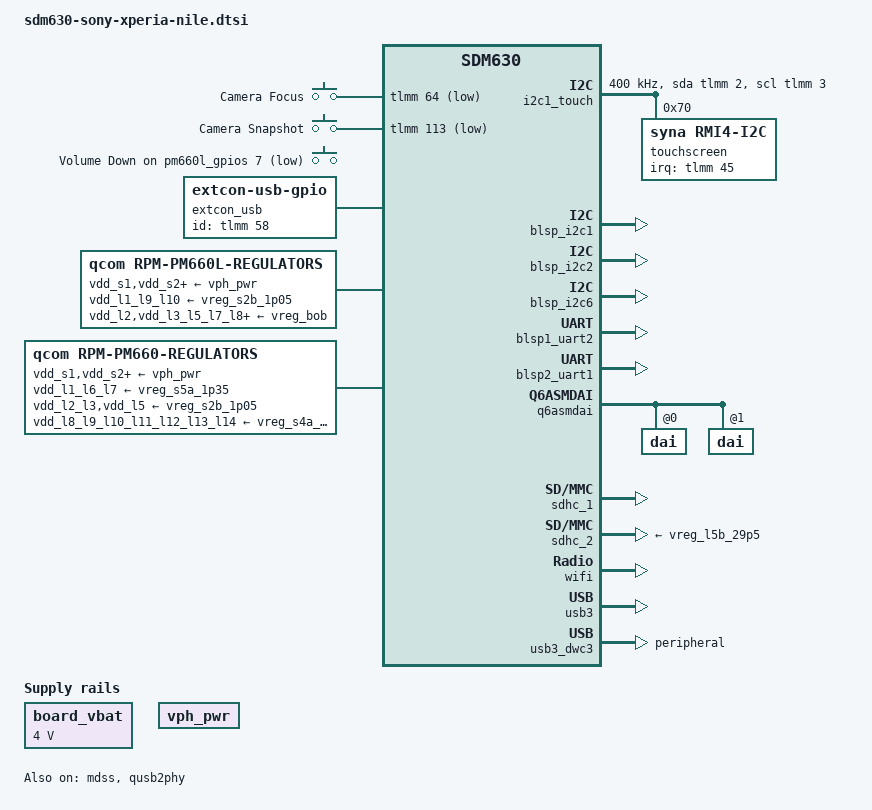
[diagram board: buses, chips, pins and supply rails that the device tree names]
// SPDX-License-Identifier: BSD-3-Clause
/*
 * Copyright (c) 2020, Konrad Dybcio
 */

/dts-v1/;

#include "sdm630.dtsi"
#include "pm660.dtsi"
#include "pm660l.dtsi"
#include <dt-bindings/gpio/gpio.h>
#include <dt-bindings/input/input.h>
#include <dt-bindings/input/gpio-keys.h>

#define EARLY_FRAMEBUFFER

/ {
	/* required for bootloader to select correct board */
	qcom,msm-id = <318 0>;
	qcom,board-id = <8 1>;
	qcom,pmic-id = <0x1001b 0x101011a 0x00 0x00 0x1001b 0x201011a 0x00 0x00>;

	/* This part enables graphical output via bootloader-enabled display */
	chosen {
#ifdef EARLY_FRAMEBUFFER
		bootargs = "earlycon=tty0 console=tty0 clk_ignore_unused";
#else
		bootargs = "clk_ignore_unused";
#endif
		#address-cells = <2>;
		#size-cells = <2>;
		ranges;

#ifdef EARLY_FRAMEBUFFER
		stdout-path = "framebuffer0";


		framebuffer0: framebuffer@9d400000 {
			compatible = "simple-framebuffer";
			reg = <0 0x9d400000 0 (1920 * 1080 * 4)>;
			width = <1080>;
			height = <1920>;
			stride = <(1080 * 4)>;
			format = "a8r8g8b8";

			power-domains = <&mmcc MDSS_GDSC>;
			clocks = <&mmcc MDSS_AHB_CLK>,
				 <&mmcc MNOC_AHB_CLK>,
				 <&mmcc MDSS_VSYNC_CLK>,
				 <&mmcc MDSS_AXI_CLK>,
				 <&mmcc MDSS_BYTE0_INTF_CLK>,
				 <&mmcc MDSS_MDP_CLK>,
				 <&mmcc MDSS_BYTE0_CLK>,
				 <&mmcc MDSS_PCLK0_CLK>,
				 <&mmcc MDSS_ESC0_CLK>,
				 <&xo_board>;
		};
#endif
	};

	board_vbat: vbat-regulator {
		compatible = "regulator-fixed";
		regulator-name = "VBAT";

		regulator-min-microvolt = <4000000>;
		regulator-max-microvolt = <4000000>;
		regulator-always-on;
		regulator-boot-on;
	};

	vph_pwr: vph-pwr-regulator {
		compatible = "regulator-fixed";
		regulator-name = "vph_pwr";

	//	vin-supply = <&board_vbat>;
		regulator-always-on;
		regulator-boot-on;
	};

	gpio_keys: gpio_keys {
		status = "okay";
		compatible = "gpio-keys";
		input-name = "gpio-keys";
		#address-cells = <1>;
		#size-cells = <0>;

		camera_focus {
			label = "Camera Focus";
			gpios = <&tlmm 64 GPIO_ACTIVE_LOW>;
			linux,input-type = <1>;
			linux,code = <KEY_CAMERA_FOCUS>;
			debounce-interval = <15>;
		};

		camera_snapshot {
			label = "Camera Snapshot";
			gpios = <&tlmm 113 GPIO_ACTIVE_LOW>;
			linux,input-type = <1>;
			linux,code = <KEY_CAMERA>;
			debounce-interval = <15>;
		};

		vol_down {
			label = "Volume Down";
			gpios = <&pm660l_gpios 7 GPIO_ACTIVE_LOW>;
			linux,input-type = <1>;
			linux,code = <KEY_VOLUMEDOWN>;
			gpio-key,wakeup;
			debounce-interval = <15>;
		};
	};

	reserved-memory {
		#address-cells = <2>;
		#size-cells = <2>;
		ranges;

		ramoops@ffc00000 {
			compatible = "ramoops";
			reg = <0x0 0xffc00000 0x0 0x100000>;
			record-size = <0x10000>;
			console-size = <0x60000>;
			ftrace-size = <0x10000>;
			pmsg-size = <0x20000>;
			ecc-size = <16>;
			status = "okay";
		};

		debug_region@ffb00000 {
			reg = <0x00 0xffb00000 0x00 0x100000>;
			no-map;
		};

		removed_region@85800000 {
			reg = <0x00 0x85800000 0x00 0x3700000>;
			no-map;
		};
	};

	/* This is not exactly pretty, but required for TS to work.. */

	i2c1_touch: i2c {
		compatible = "i2c-gpio";
		status = "okay";

		sda-gpios = <&tlmm 2 (GPIO_ACTIVE_HIGH|GPIO_OPEN_DRAIN)>;
		scl-gpios = <&tlmm 3 (GPIO_ACTIVE_HIGH|GPIO_OPEN_DRAIN)>;

		#address-cells = <1>;
		#size-cells = <0>;
		clock-frequency = <400000>;

		pinctrl-names = "default";
		pinctrl-0 = <&i2c1_default>;

		touchscreen: synaptics-rmi4-i2c@70 {
			compatible = "syna,rmi4-i2c";
			reg = <0x70>;
			#address-cells = <1>;
			#size-cells = <0>;
			interrupts-extended = <&tlmm 45 0x2008>;

			pinctrl-names = "default";
			pinctrl-0 = <&ts_int_active &ts_lcd_id_active>;

			syna,reset-delay-ms = <200>;
			syna,startup-delay-ms = <220>;

			rmi4-f01@1 {
				reg = <0x01>;
				syna,nosleep-mode = <1>;
			};

			rmi4-f11@11 {
				reg = <0x11>;
				syna,sensor-type = <1>;
			};
		};
	};

	/* 
	 * Until we hook up type-c detection, we
	 * have to stick with this. But it works.
	 */
	extcon_usb: extcon-usb {
		compatible = "linux,extcon-usb-gpio";
		id-gpio = <&tlmm 58 GPIO_ACTIVE_HIGH>;
	};
};

&adsp_pil {
	firmware-name = "adsp.mdt";
	status = "disabled";
};

&blsp_i2c1 {
	status = "okay";

	/* Synaptics touchscreen - see above */
};

&blsp_i2c2 {
	status = "okay";

	/* SMB1351 charger */
};

/* I2C3, 4, 5, 7 and 8 are disabled on this board. */

&blsp_i2c6 {
	status = "okay";

	/* NXP NFC */
};

&blsp1_uart2 {
	status = "okay";
};

&blsp2_uart1 {
	status = "okay";
};

&dsi0 {
	#address-cells = <1>;
	#size-cells = <0>;

	power-domains = <&mmcc MDSS_GDSC>;
	vdd-supply = <&vreg_l1b_0p925>;
	vdda-supply = <&vreg_l1a_1p225>;

	panel: panel@0 {
		reg = <0>;

		reset-gpios = <&tlmm 53 GPIO_ACTIVE_HIGH>;
		disp-te-gpios = <&tlmm 59 GPIO_ACTIVE_HIGH>;

		pinctrl-names = "default";
		pinctrl-0 = <&panel_reset_gpio &panel_te_gpio>;
		port {
			panel_in: endpoint {
				remote-endpoint = <&dsi0_out>;
			};
		};
	};
};

&dsi0_out {
	remote-endpoint = <&panel_in>;
	data-lanes = <0 1 2 3>;
};

&mdss {
	status = "okay";
};

&pon {
	volup {
		compatible = "qcom,pm8941-resin";
		interrupts = <0x0 0x8 1 IRQ_TYPE_EDGE_BOTH>;
		debounce = <15625>;
		bias-pull-up;
		linux,code = <KEY_VOLUMEUP>;
	};
};

&q6asmdai {
	dai@0 {
		reg = <0>;
	};

	dai@1 {
		reg = <1>;
	};
};

&qusb2phy {
	status = "okay";

	vdd-supply = <&vreg_l1b_0p925>;
//	vdda-pll-supply = <&vreg_l10a_1p8>;
	vdda-phy-dpdm-supply = <&vreg_l7b_3p125>;
};

&remoteproc_mss {
	firmware-name = "mba.mbn", "modem.mdt";
};

&sdhc_1 {
	status = "okay";

	mmc-ddr-1_8v;
	/* SoMC Nile platform's eMMC doesn't support HS200 mode */
	mmc-hs400-1_8v;

	/*
	 * The SDHCI driver REALLY doesn't like
	 * the fact that the vmmc regulator isn't 1.8V
	 * flat.. but the eMMC works without regulators
	 * specified.
	 */
	//vmmc-supply = <&vreg_l4b_29p5>;
	//vqmmc-supply = <&vreg_l8a_1p8>;

};

&sdhc_2 {
	status = "okay";

	vmmc-supply = <&vreg_l5b_29p5>;
	vqmmc-supply = <&vreg_l2b_2p95>; 
};

&wifi {
	status = "okay";
	vdd-0.8-cx-mx-supply = <&vreg_l5a_0p848>;
	//vdd-1.8-xo-supply = <&vreg_l9a_1p8>;
	vdd-1.3-rfa-supply = <&vreg_l6a_1p3>;
	vdd-3.3-ch0-supply = <&vreg_l19a_3p3>;
};

/*
    s3                            0    0      0  normal   908mV     0mA     0mV     0mV
    s4                            0    0      0  normal   908mV     0mA     0mV     0mV
    s5                            0    0      0  normal   920mV     0mA     0mV     0mV
*/

&pm660l_spmi_regulators {
/*
	vdd_cx: s3 {
		regulator-min-microvolt = <870000>;
		regulator-max-microvolt = <955000>;
		//regulator-boot-on;
	};

	vdd_mx: s5 {
		regulator-min-microvolt = <915000>;
		regulator-max-microvolt = <955000>;
	///	regulator-boot-on;
	};
*/
};

&rpm_requests {
	pm660l-regulators {
		compatible = "qcom,rpm-pm660l-regulators";

		vdd_s1-supply = <&vph_pwr>;
		vdd_s2-supply = <&vph_pwr>;
		vdd_s3_s4-supply = <&vph_pwr>;
		vdd_s5-supply = <&vph_pwr>;
		vdd_s6-supply = <&vph_pwr>;

		vdd_l1_l9_l10-supply = <&vreg_s2b_1p05>;
		vdd_l2-supply = <&vreg_bob>;
		vdd_l3_l5_l7_l8-supply = <&vreg_bob>;
		vdd_l4_l6-supply = <&vreg_bob>;
		vdd_bob-supply = <&vph_pwr>;

		vreg_s1b_1p125: s1b {
			regulator-min-microvolt = <1125000>;
			regulator-max-microvolt = <1125000>;
			regulator-enable-ramp-delay = <200>;
			regulator-ramp-delay = <0>;
		};

		vreg_s2b_1p05: s2b {
			regulator-min-microvolt = <1050000>;
			regulator-max-microvolt = <1050000>;
			regulator-enable-ramp-delay = <200>;
			regulator-ramp-delay = <0>;
		};

#if 0
		vreg_s3b_s4b_0p87: s3b { /* VDD_CX */
			//regulator-min-microvolt = <355000>;
			/* HACK: Set it to at least 0.870V until we can scale it */

			regulator-min-microvolt = <870000>;
			regulator-max-microvolt = <955000>;
//			regulator-boot-on;

//			status = "disabled";
		};

		/* s4b is inaccessible / doesn't exist */

		vreg_s5b_0p915: s5b { /* VDD_MX */
			//regulator-min-microvolt = <525000>;
			/* HACK: Set it to at least 0.915V until we can scale it */

			regulator-min-microvolt = <915000>;
			regulator-max-microvolt = <955000>;
//			regulator-boot-on;

//			status = "disabled";
		};
#endif

		/* LDOs */
		vreg_l1b_0p925: l1b {
			regulator-min-microvolt = <880000>;
			regulator-max-microvolt = <928000>;
			regulator-enable-ramp-delay = <250>;
			regulator-ramp-delay = <0>;
			regulator-allow-set-load;
		};

		vreg_l2b_2p95: l2b {
			/* This regulator supports 1.648 - 3.104V on this board
			 * but we set a max voltage of anything less than 2.7V
			 * to satisfy a condition in sdhci.c that will disable
			 * 3.3V SDHCI signaling, which happens to be not really
			 * supported on the Xperia Nile/Ganges platform.
			 */
			regulator-min-microvolt = <1648000>;
			regulator-max-microvolt = <2696000>;
			/* regulator-max-microvolt = <3104000>; */
			regulator-enable-ramp-delay = <250>;
			regulator-ramp-delay = <0>;
			regulator-allow-set-load;
		};

		vreg_l3b_3p0: l3b {
			regulator-min-microvolt = <1710000>;
			regulator-max-microvolt = <3544000>;
			regulator-enable-ramp-delay = <250>;
			regulator-ramp-delay = <0>;
		};

		vreg_l4b_29p5: l4b {
		//	regulator-min-microvolt = <1700000>;

			regulator-min-microvolt = <2944000>;
			regulator-max-microvolt = <2952000>;
			regulator-enable-ramp-delay = <250>;
			regulator-ramp-delay = <0>;

			regulator-min-microamp = <200>;
			regulator-max-microamp = <600000>;
			regulator-system-load = <570000>;
			regulator-allow-set-load;
			//regulator-boot-on;
			//regulator-always-on;
		};

		vreg_l5b_29p5: l5b {
			regulator-min-microvolt = <1720000>;
			regulator-max-microvolt = <3600000>;
			regulator-enable-ramp-delay = <250>;
			regulator-ramp-delay = <0>;
			regulator-allow-set-load;
		};

		vreg_l6b_3p3: l6b {
			regulator-min-microvolt = <1704000>;
			regulator-max-microvolt = <3312000>;
			regulator-enable-ramp-delay = <250>;
			regulator-ramp-delay = <0>;
		};

		vreg_l7b_3p125: l7b {
			regulator-min-microvolt = <2704000>;
			regulator-max-microvolt = <3128000>;
			regulator-enable-ramp-delay = <250>;
			regulator-ramp-delay = <0>;
		};

		vreg_l8b_3p3: l8b {
			regulator-min-microvolt = <2800000>;
			regulator-max-microvolt = <3400000>;
			regulator-enable-ramp-delay = <250>;
			regulator-ramp-delay = <0>;
		};

		vreg_l9b_0p87: l9b {
			/* Unused */
			status = "disabled";
		};

		vreg_l10b_0p915: l10b {
			/* Unused */
			status = "disabled";
		};

		vreg_bob: bob {
			regulator-min-microvolt = <3300000>;
			regulator-max-microvolt = <3600000>;
			regulator-enable-ramp-delay = <500>;
			regulator-ramp-delay = <0>;
		};
	};

	pm660-regulators {
		compatible = "qcom,rpm-pm660-regulators";

		vdd_s1-supply = <&vph_pwr>;
		vdd_s2-supply = <&vph_pwr>;
		vdd_s3-supply = <&vph_pwr>;
		vdd_s4-supply = <&vph_pwr>;
		vdd_s5-supply = <&vph_pwr>;
		vdd_s6-supply = <&vph_pwr>;

		vdd_l1_l6_l7-supply = <&vreg_s5a_1p35>;
		vdd_l2_l3-supply = <&vreg_s2b_1p05>;
		vdd_l5-supply = <&vreg_s2b_1p05>;
		vdd_l8_l9_l10_l11_l12_l13_l14-supply = <&vreg_s4a_2p04>;
		vdd_l15_l16_l17_l18_l19-supply = <&vreg_bob>;

		vreg_s1a_ftapc0: s1a {
			/* Unused */
			status = "disabled";
		};

		vreg_s2a_ftapc1: s2a {
			/* Unused */
			status = "disabled";
		};

		vreg_s3a_hfapc1: s3a {
			/* Unused */
			status = "disabled";
		};

		vreg_s4a_2p04: s4a {
			//regulator-min-microvolt = <1808000>;
			regulator-min-microvolt = <2040000>;
			regulator-max-microvolt = <2040000>;
			regulator-enable-ramp-delay = <200>;
			regulator-ramp-delay = <0>;
			//regulator-allow-set-load;
			regulator-always-on;
		};

		vreg_s5a_1p35: s5a {
			regulator-min-microvolt = <1224000>;
			regulator-max-microvolt = <1350000>;
			regulator-enable-ramp-delay = <200>;
			regulator-ramp-delay = <0>;
		};

		vreg_s6a_0p87: s6a {
			regulator-min-microvolt = <504000>;
			regulator-max-microvolt = <992000>;
			regulator-enable-ramp-delay = <150>;
			regulator-ramp-delay = <0>;
		};

		/* LDOs */
		vreg_l1a_1p225: l1a {
			//regulator-min-microvolt = <1152000>;
			regulator-min-microvolt = <1200000>;
			regulator-max-microvolt = <1250000>;
			regulator-enable-ramp-delay = <250>;
			regulator-ramp-delay = <0>;
			regulator-allow-set-load;
		};

		vreg_l2a_1p0: l2a {
			regulator-min-microvolt = <944000>;
			regulator-max-microvolt = <1008000>;
			regulator-enable-ramp-delay = <250>;
			regulator-ramp-delay = <0>;
		};

		vreg_l3a_1p0: l3a {
			regulator-min-microvolt = <944000>;
			regulator-max-microvolt = <1008000>;
			regulator-enable-ramp-delay = <250>;
			regulator-ramp-delay = <0>;
		};

		vreg_l5a_0p848: l5a {
			regulator-min-microvolt = <528000>;
			regulator-max-microvolt = <952000>;
			regulator-enable-ramp-delay = <250>;
			regulator-ramp-delay = <0>;
		};

		vreg_l6a_1p3: l6a {
			regulator-min-microvolt = <1200000>;
			regulator-max-microvolt = <1368000>;
			regulator-allow-set-load;
			regulator-enable-ramp-delay = <250>;
			regulator-ramp-delay = <0>;
		};

		vreg_l7a_1p2: l7a {
			regulator-min-microvolt = <1200000>;
			regulator-max-microvolt = <1200000>;
			regulator-enable-ramp-delay = <250>;
			regulator-ramp-delay = <0>;
		};

		vreg_l8a_1p8: l8a {
			//regulator-min-microvolt = <1696000>;
			//regulator-min-microvolt = <1792000>;
			//regulator-max-microvolt = <1808000>;
			//regulator-max-microvolt = <1952000>;

			regulator-min-microvolt = <1800000>;
			regulator-max-microvolt = <1800000>;
			regulator-enable-ramp-delay = <250>;
			regulator-ramp-delay = <0>;
		//	regulator-boot-on;
		//	regulator-always-on;
		//	regulator-allow-set-load;
		};


		vreg_l9a_1p8: l9a {
			regulator-min-microvolt = <1784000>;
			regulator-max-microvolt = <1896000>;
			regulator-enable-ramp-delay = <250>;
			regulator-ramp-delay = <0>;
			regulator-allow-set-load;
		};

		vreg_l10a_1p8: l10a {
			regulator-min-microvolt = <1784000>;
			regulator-max-microvolt = <1944000>;
			regulator-enable-ramp-delay = <250>;
			regulator-ramp-delay = <0>;
			regulator-allow-set-load;
		};

		vreg_l11a_1p8: l11a {
			regulator-min-microvolt = <1784000>;
			regulator-max-microvolt = <1944000>;
			regulator-enable-ramp-delay = <250>;
			regulator-ramp-delay = <0>;
		};

		vreg_l12a_1p8: l12a {
			regulator-min-microvolt = <1784000>;
			regulator-max-microvolt = <1944000>;
			regulator-enable-ramp-delay = <250>;
			regulator-ramp-delay = <0>;
		};

		vreg_l13a_1p8: l13a {
			regulator-min-microvolt = <1784000>;
			regulator-max-microvolt = <1944000>;
			regulator-enable-ramp-delay = <250>;
			regulator-ramp-delay = <0>;
		};

		vreg_l14a_1p8: l14a {
			regulator-min-microvolt = <1710000>;
			regulator-max-microvolt = <1904000>;
			regulator-enable-ramp-delay = <250>;
			regulator-ramp-delay = <0>;
		};

		vreg_l15a_1p8: l15a {
			regulator-min-microvolt = <1648000>;
			regulator-max-microvolt = <2952000>;
			regulator-enable-ramp-delay = <250>;
			regulator-ramp-delay = <0>;
		};

		vreg_l16a_2p7: l16a {
			/* Unused */
			status = "disabled";
		};

		vreg_l17a_1p8: l17a {
			regulator-min-microvolt = <1648000>;
			regulator-max-microvolt = <2952000>;
			regulator-enable-ramp-delay = <250>;
			regulator-ramp-delay = <0>;
		};

		vreg_l18a_1v8: l18a {
			regulator-min-microvolt = <1800000>;
			regulator-max-microvolt = <1800000>;
			regulator-enable-ramp-delay = <250>;
			regulator-ramp-delay = <0>;
		};

		vreg_l19a_3p3: l19a {
			regulator-min-microvolt = <3200000>;
			regulator-max-microvolt = <3400000>;
			regulator-enable-ramp-delay = <250>;
			regulator-ramp-delay = <0>;
			regulator-allow-set-load;
		};
	};
};

&tlmm {
	gpio-reserved-ranges = <8 4>;

	ts_int_active: ts-int-active {
		pins = "gpio45";
		drive-strength = <8>;
		bias-pull-up;
	};

	ts_lcd_id_active: ts-lcd-id-active {
		pins = "gpio56";
		drive-strength = <8>;
		bias-disable;
	};

	panel_reset_gpio: panel-reset-gpio {
		pins = "gpio53";
		function = "gpio";
		drive-strength = <8>;
		bias-disable;
	};

	mdss_dsi_suspend: mdss-dsi-suspend {
		pins = "gpio53";
		function = "gpio";
		drive-strength = <2>;
		bias-pull-down;
	};

	panel_te_gpio: panel-te-gpio {
		pins = "gpio59";
		function = "gpio";
		drive-strength = <2>;
		bias-pull-down;
	};
};

&usb3 {
	status = "okay";
};

&usb3_dwc3 {
	dr_mode = "peripheral";
	extcon = <&extcon_usb>;
};


&adreno_smmu {
	/* HACK: GX GDSC parent is CX. We need to bring up CX for SMMU
	 *       but we need both up for Adreno. On the other hand, we
	 *       need to manage the GX rpmpd domain in the adreno driver.
	 *       Enable CX/GX GDSCs here so that we can manage the GX
	 *       RPM Power Domain in the Adreno driver.
	 */
	power-domains = <&gpucc GPU_GX_GDSC>;
};

&adreno_gpu {
	power-domains = <&rpmpd SDM660_VDDMX>;

	status = "disabled";
};
